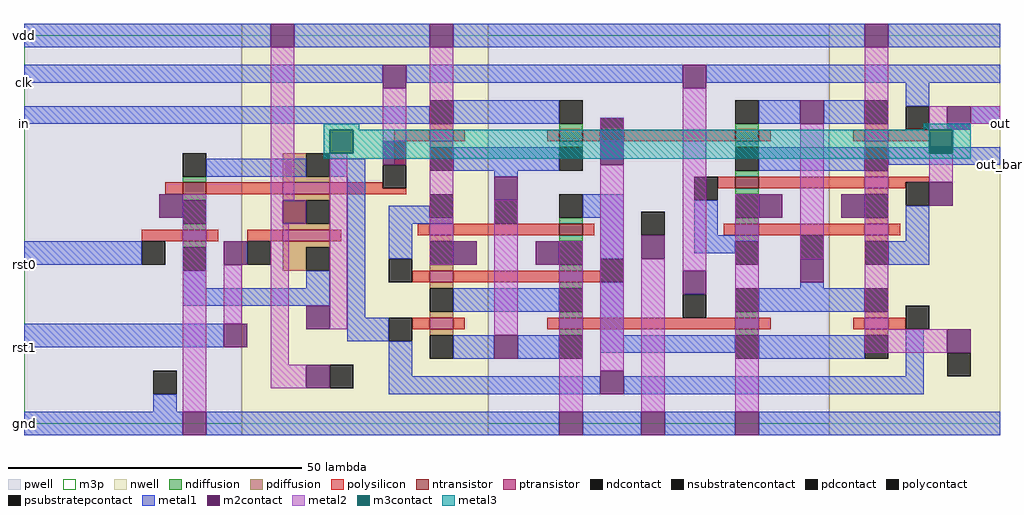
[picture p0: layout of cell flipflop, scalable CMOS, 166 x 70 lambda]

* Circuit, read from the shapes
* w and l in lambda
.subckt flipflop clk gnd in out out_bar rst0 rst1 vdd
M1 gnd rst0 out gnd nfet w=4 l=2
M2 n1 clk gnd gnd nfet w=4 l=2
M3 n2 clk n3 gnd nfet w=4 l=2
M4 gnd n4 n2 gnd nfet w=4 l=2
M5 n4 n3 gnd gnd nfet w=4 l=2
M6 in n1 n3 gnd nfet w=4 l=2
M7 n5 clk n4 gnd nfet w=4 l=2
M8 gnd n5 out gnd nfet w=4 l=2
M9 out_bar out gnd gnd nfet w=4 l=2
M10 n5 n1 out_bar gnd nfet w=4 l=2
M11 vdd rst1 out vdd pfet w=8 l=2
M12 n1 clk vdd vdd pfet w=8 l=2
M13 n2 n1 n3 vdd pfet w=4 l=2
M14 vdd n4 n2 vdd pfet w=4 l=2
M15 n4 n3 vdd vdd pfet w=4 l=2
M16 in clk n3 vdd pfet w=4 l=2
M17 n5 n1 n4 vdd pfet w=4 l=2
M18 vdd n5 out vdd pfet w=4 l=2
M19 out_bar out vdd vdd pfet w=4 l=2
M20 n5 clk out_bar vdd pfet w=4 l=2
.ends

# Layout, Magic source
magic
tech scmos
<< nwell >>
rect 37 -2 79 68
rect 137 -2 166 68
<< pwell >>
rect 0 -2 37 68
rect 79 -2 137 68
<< ntransistor >>
rect 91 48 95 50
rect 121 48 125 50
rect 27 39 31 41
rect 121 40 125 42
rect 27 31 31 33
rect 91 32 95 34
rect 121 32 125 34
rect 91 24 95 26
rect 91 16 95 18
rect 121 16 125 18
<< ptransistor >>
rect 69 48 73 50
rect 143 48 147 50
rect 44 39 52 41
rect 143 40 147 42
rect 44 31 52 33
rect 69 32 73 34
rect 143 32 147 34
rect 69 24 73 26
rect 69 16 73 18
rect 143 16 147 18
<< ndiffusion >>
rect 91 50 95 51
rect 121 50 125 51
rect 27 41 31 42
rect 91 47 95 48
rect 121 47 125 48
rect 121 42 125 43
rect 27 38 31 39
rect 27 33 31 34
rect 121 39 125 40
rect 91 34 95 35
rect 121 34 125 35
rect 27 30 31 31
rect 91 31 95 32
rect 121 31 125 32
rect 91 26 95 27
rect 91 23 95 24
rect 91 18 95 19
rect 121 18 125 19
rect 91 15 95 16
rect 121 15 125 16
<< pdiffusion >>
rect 69 50 73 51
rect 143 50 147 51
rect 44 42 48 46
rect 44 41 52 42
rect 69 47 73 48
rect 143 47 147 48
rect 143 42 147 43
rect 44 38 52 39
rect 44 34 48 38
rect 69 34 73 35
rect 44 33 52 34
rect 143 39 147 40
rect 143 34 147 35
rect 69 31 73 32
rect 44 30 52 31
rect 44 26 48 30
rect 69 26 73 27
rect 143 31 147 32
rect 69 23 73 24
rect 69 18 73 19
rect 143 18 147 19
rect 69 15 73 16
rect 143 15 147 16
<< ndcontact >>
rect 91 51 95 55
rect 121 51 125 55
rect 27 42 31 46
rect 91 43 95 47
rect 121 43 125 47
rect 27 34 31 38
rect 91 35 95 39
rect 121 35 125 39
rect 27 26 31 30
rect 91 27 95 31
rect 121 27 125 31
rect 91 19 95 23
rect 121 19 125 23
rect 91 11 95 15
rect 121 11 125 15
<< pdcontact >>
rect 69 51 73 55
rect 143 51 147 55
rect 48 42 52 46
rect 69 43 73 47
rect 143 43 147 47
rect 48 34 52 38
rect 69 35 73 39
rect 143 35 147 39
rect 48 26 52 30
rect 69 27 73 31
rect 143 27 147 31
rect 69 19 73 23
rect 143 19 147 23
rect 69 11 73 15
rect 143 11 147 15
<< psubstratepcontact >>
rect 105 32 109 36
rect 22 5 26 9
<< nsubstratencontact >>
rect 52 6 56 10
rect 157 8 161 12
<< polysilicon >>
rect 63 48 69 50
rect 73 48 75 50
rect 89 48 91 50
rect 95 48 98 50
rect 102 48 121 50
rect 125 48 127 50
rect 141 48 143 50
rect 147 48 154 50
rect 63 44 65 48
rect 24 39 27 41
rect 31 39 44 41
rect 52 40 61 41
rect 52 39 65 40
rect 118 40 121 42
rect 125 40 143 42
rect 147 41 154 42
rect 147 40 150 41
rect 20 31 27 33
rect 31 31 33 33
rect 38 31 44 33
rect 52 31 54 33
rect 67 32 69 34
rect 73 32 91 34
rect 95 32 97 34
rect 119 32 121 34
rect 125 32 143 34
rect 147 32 149 34
rect 66 24 69 26
rect 73 24 91 26
rect 95 24 98 26
rect 66 16 69 18
rect 73 16 75 18
rect 89 16 91 18
rect 95 16 121 18
rect 125 16 127 18
rect 141 16 143 18
rect 147 16 150 18
<< polycontact >>
rect 98 48 102 52
rect 150 50 154 54
rect 61 40 65 44
rect 80 34 84 38
rect 114 38 118 42
rect 150 37 154 41
rect 20 27 24 31
rect 38 27 42 31
rect 62 24 66 28
rect 98 24 102 28
rect 132 28 136 32
rect 112 18 116 22
rect 62 14 66 18
rect 150 16 154 20
<< metal1 >>
rect 0 64 42 68
rect 46 64 69 68
rect 73 64 143 68
rect 147 64 166 68
rect 0 58 61 61
rect 65 58 112 61
rect 116 58 166 61
rect 0 51 69 54
rect 73 51 91 55
rect 125 51 132 55
rect 136 51 143 55
rect 150 54 154 58
rect 161 51 166 54
rect 31 42 48 45
rect 52 42 58 45
rect 0 27 20 31
rect 27 23 31 26
rect 48 23 52 26
rect 27 20 52 23
rect 0 13 34 17
rect 55 18 58 42
rect 73 43 91 47
rect 125 43 143 47
rect 147 44 166 47
rect 80 42 84 43
rect 62 35 69 37
rect 62 34 73 35
rect 95 35 102 39
rect 62 28 66 34
rect 98 28 102 35
rect 114 32 118 38
rect 114 31 125 32
rect 114 29 121 31
rect 150 31 154 37
rect 73 19 91 23
rect 55 14 62 18
rect 98 15 102 24
rect 147 27 154 31
rect 132 23 136 24
rect 125 19 143 23
rect 62 8 66 14
rect 73 11 80 15
rect 84 11 91 15
rect 98 12 121 15
rect 125 11 143 15
rect 62 5 98 8
rect 150 8 153 16
rect 102 5 153 8
rect 22 2 26 5
rect 0 -2 27 2
rect 31 -2 91 2
rect 95 -2 105 2
rect 109 -2 121 2
rect 125 -2 166 2
<< m2contact >>
rect 42 64 46 68
rect 69 64 73 68
rect 143 64 147 68
rect 61 57 65 61
rect 112 57 116 61
rect 132 51 136 55
rect 157 50 161 54
rect 23 35 27 39
rect 44 34 48 38
rect 34 27 38 31
rect 34 13 38 17
rect 48 16 52 20
rect 61 44 65 48
rect 98 44 102 48
rect 80 38 84 42
rect 73 27 77 31
rect 87 27 91 31
rect 105 28 109 32
rect 125 35 129 39
rect 139 35 143 39
rect 154 37 158 41
rect 112 22 116 26
rect 132 24 136 28
rect 48 6 52 10
rect 80 11 84 15
rect 98 5 102 9
rect 157 12 161 16
rect 27 -2 31 2
rect 91 -2 95 2
rect 105 -2 109 2
rect 121 -2 125 2
<< metal2 >>
rect 27 2 31 39
rect 42 38 46 64
rect 61 48 65 57
rect 42 34 44 38
rect 34 17 37 27
rect 42 10 45 34
rect 52 16 55 46
rect 69 27 73 64
rect 98 48 102 52
rect 80 15 84 38
rect 42 6 48 10
rect 91 2 95 31
rect 98 9 102 44
rect 105 2 109 28
rect 112 26 116 57
rect 121 2 125 39
rect 132 28 136 51
rect 143 16 147 64
rect 154 50 157 54
rect 161 51 166 54
rect 154 41 158 46
rect 143 12 157 16
<< m3contact >>
rect 52 46 56 50
rect 154 46 158 50
<< metal3 >>
rect 51 50 57 51
rect 153 50 161 51
rect 51 46 52 50
rect 56 46 154 50
rect 158 46 161 50
rect 51 45 161 46
<< m3p >>
rect 0 0 166 66
<< labels >>
rlabel metal1 166 51 166 51 7 out
rlabel metal1 166 44 166 44 7 out_bar
rlabel metal1 0 58 0 58 3 clk
rlabel metal1 0 66 0 66 4 vdd
rlabel metal1 0 51 0 51 3 in
rlabel metal1 0 27 0 27 3 rst0
rlabel metal1 0 13 0 13 3 rst1
rlabel metal1 0 0 0 0 2 gnd
<< end >>
